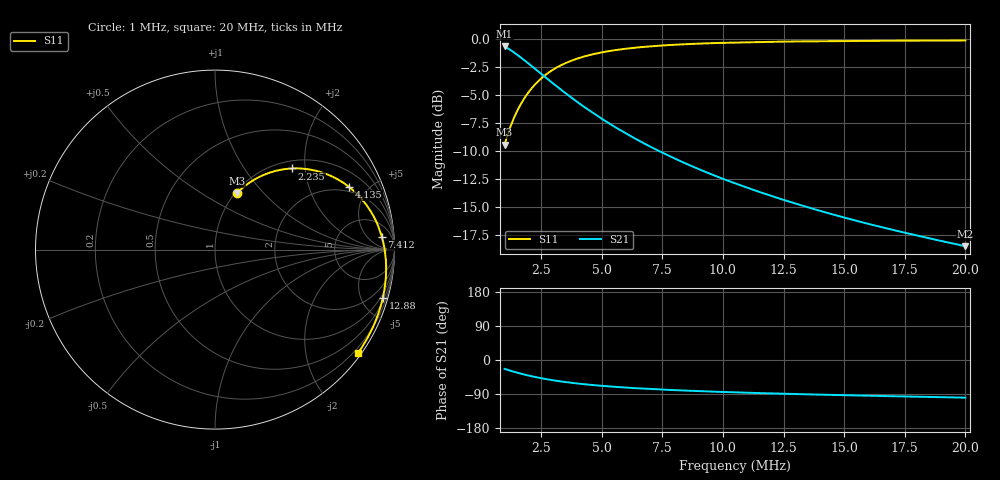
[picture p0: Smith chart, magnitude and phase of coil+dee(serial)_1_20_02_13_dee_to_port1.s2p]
# HZ S RI R 50
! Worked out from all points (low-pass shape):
!   401 points, 1 MHz to 20 MHz, reference 50 ohm
!   highest |S21| = -0.67 dB at 1 MHz (marker M1); lowest = -18.5 dB at 20 MHz (marker M2)
!   |S21| within 3 dB of the highest: start of sweep to 2.82 MHz
!   lowest |S11| = -9.5 dB at 1 MHz (marker M3), VSWR 2.02, Z = 51 + j36.1 ohm
!   |S11| at or under -10 dB: nowhere
!   S12 and S22 are empty: the file has one direction only
!   S11 on the Smith chart (normalised r, x): 1 MHz: 1.02, +0.72; 2.235 MHz: 1.15, +1.70; 4.135 MHz: 1.72, +3.77; 7.412 MHz: 13, +14; 12.88 MHz: 0.69, -7.04; 20 MHz: 0.09, -3.09
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1000000  0.1217 0.3139  0.8492 -0.3681  0 0  0 0
1095000  0.1437 0.3351  0.8243 -0.3913  0 0  0 0
1332500  0.2015 0.3793  0.7597 -0.4397  0 0  0 0
1617500  0.2743 0.4174  0.6814 -0.4801  0 0  0 0
1902500  0.3468 0.4405  0.6062 -0.5048  0 0  0 0
2235000  0.4274 0.4519  0.5255 -0.5178  0 0  0 0
2662500  0.5211 0.4473  0.4356 -0.5173  0 0  0 0
3137500  0.61 0.4249  0.3538 -0.503  0 0  0 0
3612500  0.6831 0.3916  0.2884 -0.4811  0 0  0 0
4135000  0.7479 0.3485  0.2319 -0.4538  0 0  0 0
4182500  0.753 0.3443  0.2274 -0.4514  0 0  0 0
4847500  0.8144 0.2853  0.174 -0.4162  0 0  0 0
5607500  0.8646 0.2183  0.1298 -0.3788  0 0  0 0
6462500  0.9028 0.1459  0.0942 -0.3416  0 0  0 0
7365000  0.9288 0.0746  0.0676 -0.308  0 0  0 0
7412500  0.9299 0.0708  0.0664 -0.3065  0 0  0 0
8885000  0.9499 -0.0344  0.0378 -0.2625  0 0  0 0
1.05e7  0.9531 -0.1369  0.0183 -0.2255  0 0  0 0
1.2875e7  0.9354 -0.2685  0.00118 -0.1855  0 0  0 0
1.36825e7  0.9247 -0.3092  -0.00279 -0.1745  0 0  0 0
1.6865e7  0.8697 -0.4538  -0.0133 -0.1408  0 0  0 0
2e7  0.7974 -0.5749  -0.0192 -0.117  0 0  0 0
